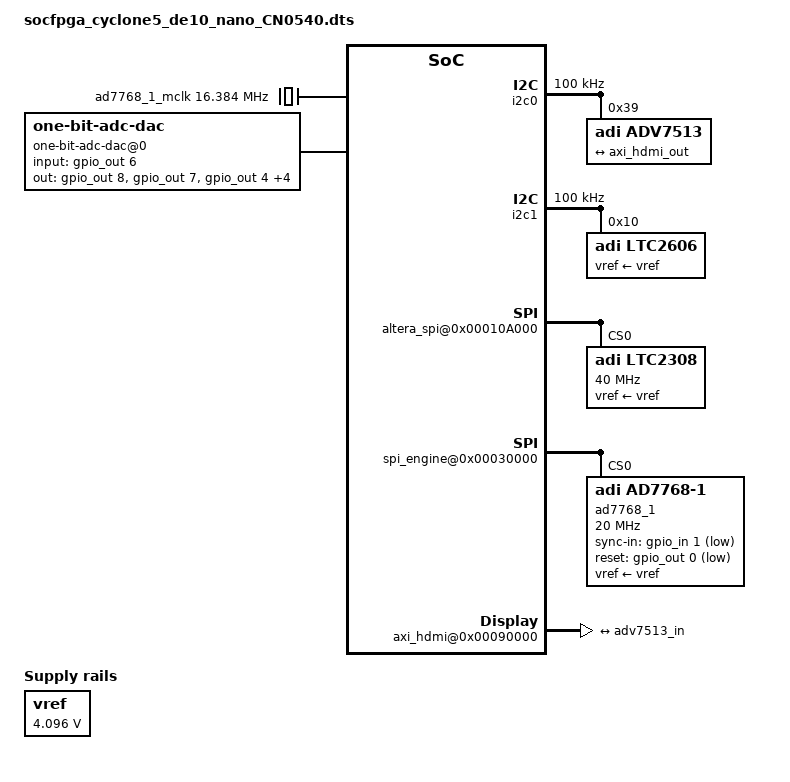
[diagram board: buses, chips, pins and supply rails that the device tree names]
// SPDX-License-Identifier: GPL-2.0
/*
 * Analog Devices AD7768-1
 * https://www.analog.com/en/products/ad7768-1.html
 * https://wiki.analog.com/resources/tools-software/linux-build/generic/socfpga
 *
 * hdl_project: <cn0540/de10>
 * board_revision: <A>
 *
 * Copyright (C) 2020 Analog Devices Inc.
 */
/dts-v1/;
#include "socfpga_cyclone5_de10_nano.dtsi"
#include <dt-bindings/interrupt-controller/irq.h>
#include <dt-bindings/gpio/gpio.h>


/ {
	vref: regulator-vref {
		compatible = "regulator-fixed";
		regulator-name = "fixed-supply";
		regulator-min-microvolt = <4096000>;
		regulator-max-microvolt = <4096000>;
		regulator-always-on;
	};

	clocks {
		sys_clk: sys_clk {
			#clock-cells = <0x0>;
			compatible = "fixed-clock";
			clock-frequency = <80000000>;
			clock-output-names = "sys_clk";
		};

		dma_clk: dma_clk {
			#clock-cells = <0x0>;
			compatible = "fixed-clock";
			clock-frequency = <80000000>;
			clock-output-names = "dma_clk";
		};

		spi_clk: spi_clk {
			#clock-cells = <0x0>;
			compatible = "fixed-clock";
			clock-frequency = <80000000>;
			clock-output-names = "spi_clk";
		};

		ad7768_1_mclk: clock@0 {
			#clock-cells = <0>;
			compatible = "fixed-clock";
			clock-frequency = <16384000>;
		};

		pixel_clk_pll: pixel_clk_pll {
			#clock-cells = <0x0>;
			compatible = "fixed-clock";
			clock-frequency = <74250000>;
			clock-output-names = "pixel_clk_pll";
		};
	};

	one-bit-adc-dac@0 {
		compatible = "one-bit-adc-dac";
		#address-cells = <1>;
		#size-cells = <0>;
		input-gpios = <&gpio_out 6 GPIO_ACTIVE_HIGH>;
		out-gpios = <&gpio_out 8 GPIO_ACTIVE_HIGH>,
			    <&gpio_out 7 GPIO_ACTIVE_HIGH>,
			    <&gpio_out 4 GPIO_ACTIVE_HIGH>,
			    <&ad7768_1 0 GPIO_ACTIVE_HIGH>,
			    <&ad7768_1 1 GPIO_ACTIVE_HIGH>,
			    <&ad7768_1 2 GPIO_ACTIVE_HIGH>,
			    <&ad7768_1 3 GPIO_ACTIVE_HIGH>;
		channel@0 {
			reg = <0>;
			label = "cn0540_yellow_led";
		};
		channel@1 {
			reg = <1>;
			label = "cn0540_blue_led";
		};
		channel@2 {
			reg = <2>;
			label = "cn0540_sw_ff_gpio";
		};
		channel@3 {
			reg = <3>;
			label = "cn0540_shutdown_gpio";
		};
		channel@4 {
			reg = <4>;
			label = "cn0540_ad7768-1-gpio0";
		};
		channel@5 {
			reg = <5>;
			label = "cn0540_ad7768-1-gpio1";
		};
		channel@6 {
			reg = <6>;
			label = "cn0540_FDA_DIS";
		};
		channel@7 {
			reg = <7>;
			label = "cn0540_FDA_MODE";
		};
	};
};

&i2c0 {
	clock-frequency = <100000>;
	adv7513: adv7513@0x39 {
		compatible = "adi,adv7513";
		reg = <0x39>, <0x3f>;
		reg-names = "primary", "edid";

		adi,input-depth = <8>;
		adi,input-colorspace = "rgb";
		adi,input-clock = "1x";
		adi,clock-delay = <0>;

		#sound-dai-cells = <0>;

		ports {
			#address-cells = <1>;
			#size-cells = <0>;

			port@0 {
				reg = <0>;
				adv7513_in: endpoint {
					remote-endpoint = <&axi_hdmi_out>;
				};
			};

			port@1 {
				reg = <1>;
			};
		};
	};
};

&i2c1 {
	clock-frequency = <100000>;
	ltc2606: ltc2606@0 {
		compatible = "adi,ltc2606";
		reg = <0x10>;
		vref-supply = <&vref>;
	};
};

&fpga_axi {
	gpio_in: gpio_in@0x00010100 {
		compatible = "altr,pio-18.1", "altr,pio-1.0";
		reg = <0x00010100 0x00000010>;
		altr,gpio-bank-width = <32>;
		altr,interrupt-type = <4>;
		altr,interrupt_type = <4>;
		level_trigger = <1>;
		resetvalue = <0>;
		#gpio-cells = <2>;
		gpio-controller;
	};

	gpio_out: gpio_out@0x00109000 {
		compatible = "altr,pio-1.0";
		reg = <0x00109000 0x00000010>;
		altr,gpio-bank-width = <32>;
		resetvalue = <0>;
		#gpio-cells = <2>;
		gpio-controller;
	};

	axi_dmac_0: rx-dma@0x00020000 {
		compatible = "adi,axi-dmac-1.00.a";
		reg = <0x00020000 0x00000800>;
		interrupt-parent = <&intc>;
		interrupts = <0 44 IRQ_TYPE_LEVEL_HIGH>;
		#dma-cells = <1>;
		clocks = <&dma_clk>;

		adi,channels {
			#size-cells = <0>;
			#address-cells = <1>;

			dma-channel@0 {
				reg = <0>;
				adi,source-bus-width = <32>;
				adi,source-bus-type = <1>;
				adi,destination-bus-width = <64>;
				adi,destination-bus-type = <0>;
			};
		};
	};

	altera_spi@0x00010A000 {
		compatible = "altr,spi-18.1", "altr,spi-1.0";
		reg = <0x0010a000 0x00000020>;
		interrupt-parent = <&intc>;
		interrupts = <0 43 IRQ_TYPE_LEVEL_HIGH>;
		#address-cells = <0x1>;
		#size-cells = <0x0>;

		ltc2308: adc@0x1 {
			compatible = "adi,ltc2308";
			reg = <0>;
			spi-max-frequency = <40000000>;
			vref-supply = <&vref>;
		};
	};

	spi_engine@0x00030000 {
		compatible = "adi,axi-spi-engine-1.00.a";
		reg = <0x00030000 0x00010000>;
		interrupt-parent = <&intc>;
		interrupts = <0 45 IRQ_TYPE_LEVEL_HIGH>;
		clocks = <&sys_clk &spi_clk>;
		clock-names = "s_axi_aclk", "spi_clk";
		num-cs = <1>;

		#address-cells = <0x1>;
		#size-cells = <0x0>;

		ad7768_1: adc@0x0 {
			compatible = "adi,ad7768-1";
			reg = <0>;
			spi-max-frequency = <20000000>;
			spi-cpol;
			spi-cpha;
			#gpio-cells = <2>;
			gpio-controller;
			vref-supply = <&vref>;
			adi,sync-in-gpios = <&gpio_in 1 GPIO_ACTIVE_LOW>;
			reset-gpios = <&gpio_out 0 GPIO_ACTIVE_LOW>;
			clocks = <&ad7768_1_mclk>;
			clock-names = "mclk";
			dmas = <&axi_dmac_0 0>;
			dma-names = "rx";
			#io-channel-cells = <1>;
		};
	};

	hdmi_tx_dma: dma@0x00080000 {
		compatible = "adi,axi-dmac-1.00.a";
		reg = <0x00080000 0x00000800>;
		interrupt-parent = <&intc>;
		interrupts = <0 47 IRQ_TYPE_LEVEL_HIGH>;
		#dma-cells = <1>;
		clocks = <&sys_clk>;

		adi,channels {
			#size-cells = <0>;
			#address-cells = <1>;

			dma-channel@0 {
				reg = <0>;
				adi,source-bus-width = <64>;
				adi,source-bus-type = <0>;
				adi,destination-bus-width = <64>;
				adi,destination-bus-type = <1>;
			};
		};
	};

	axi_hdmi@0x00090000 {
		compatible = "adi,axi-hdmi-tx-1.00.a";
		reg = <0x00090000 0x10000>;
		dmas = <&hdmi_tx_dma 0>;
		dma-names = "video";
		clocks = <&pixel_clk_pll>;
		adi,is-rgb;

		port {
			axi_hdmi_out: endpoint {
				remote-endpoint = <&adv7513_in>;
			};
		};
	};
};
